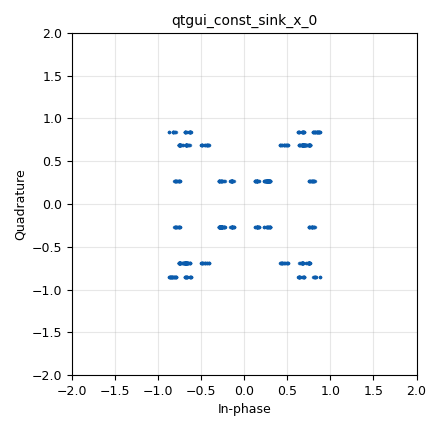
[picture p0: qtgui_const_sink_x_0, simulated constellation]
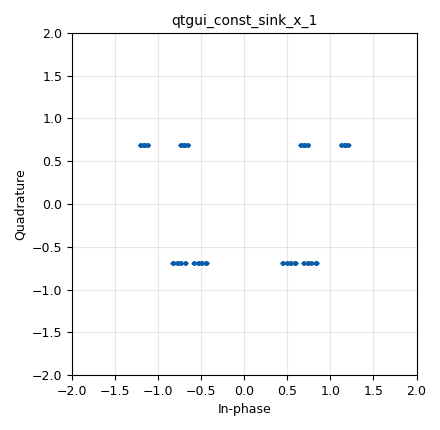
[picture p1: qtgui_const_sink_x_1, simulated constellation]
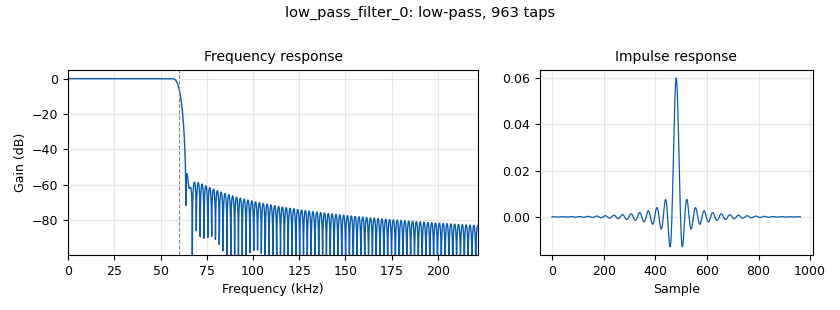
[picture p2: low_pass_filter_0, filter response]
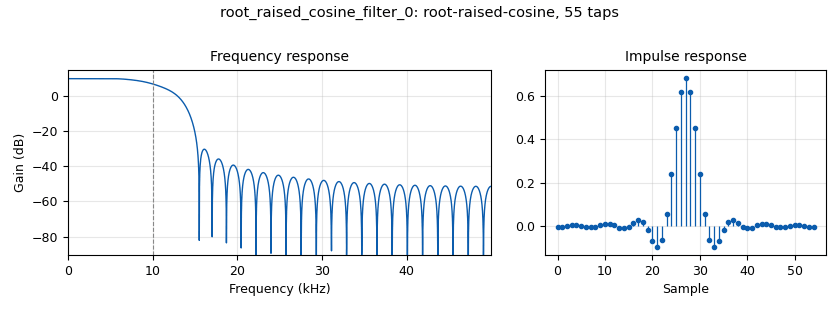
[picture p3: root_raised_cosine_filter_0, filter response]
options:
  parameters:
    generate_options: qt_gui
    id: part1
    output_language: python
    title: Not titled yet
  states: {}

blocks:
- name: samp_rate
  id: variable
  parameters:
    value: symb_rate*sps
  states: {}
- name: sps
  id: variable
  parameters:
    value: '5'
  states: {}
- name: symb_rate
  id: variable
  parameters:
    value: 20e3
  states: {}
- name: analog_random_source_x_0
  id: analog_random_source_x
  parameters:
    max: '2'
    min: '0'
    num_samps: '1000'
    repeat: 'True'
    type: byte
  states: {}
- name: analog_random_source_x_0_0
  id: analog_random_source_x
  parameters:
    max: '2'
    min: '0'
    num_samps: '1000'
    repeat: 'True'
    type: byte
  states: {}
- name: analog_sig_source_x_0
  id: analog_sig_source_x
  parameters:
    amp: '1'
    freq: 100e3
    offset: '0'
    phase: '0'
    samp_rate: 2e6
    type: float
    waveform: analog.GR_COS_WAVE
  states: {}
- name: analog_sig_source_x_0_0
  id: analog_sig_source_x
  parameters:
    amp: '1'
    freq: 100e3
    offset: '0'
    phase: '0'
    samp_rate: 2e6
    type: float
    waveform: analog.GR_COS_WAVE
  states: {}
- name: analog_sig_source_x_0_0_0
  id: analog_sig_source_x
  parameters:
    amp: '1'
    freq: 100e3
    offset: '0'
    phase: '90'
    samp_rate: 2e6
    type: float
    waveform: analog.GR_COS_WAVE
  states: {}
- name: analog_sig_source_x_0_1
  id: analog_sig_source_x
  parameters:
    amp: '1'
    freq: 100e3
    offset: '0'
    phase: '90'
    samp_rate: 2e6
    type: float
    waveform: analog.GR_COS_WAVE
  states: {}
- name: blocks_add_xx_0
  id: blocks_add_xx
  parameters:
    type: float
  states: {}
- name: blocks_add_xx_0_0
  id: blocks_add_xx
  parameters:
    type: float
  states: {}
- name: blocks_add_xx_1_0
  id: blocks_add_xx
  parameters:
    num_inputs: '5'
    type: float
  states: {}
- name: blocks_add_xx_1_0_0
  id: blocks_add_xx
  parameters:
    num_inputs: '5'
    type: float
  states: {}
- name: blocks_complex_to_float_1
  id: blocks_complex_to_float
  parameters: {}
  states: {}
- name: blocks_delay_0
  id: blocks_delay
  parameters:
    delay: 20*sps
    type: float
  states: {}
- name: blocks_delay_0_0_0_0_0
  id: blocks_delay
  parameters:
    delay: 4*(20*sps)
    type: float
  states: {}
- name: blocks_delay_0_0_0_0_0_0
  id: blocks_delay
  parameters:
    delay: 4*(20*sps)
    type: float
  states: {}
- name: blocks_delay_0_0_0_1
  id: blocks_delay
  parameters:
    delay: 3*(20*sps)
    type: float
  states: {}
- name: blocks_delay_0_0_0_1_0
  id: blocks_delay
  parameters:
    delay: 3*(20*sps)
    type: float
  states: {}
- name: blocks_delay_0_0_1_0
  id: blocks_delay
  parameters:
    delay: 2*(20*sps)
    type: float
  states: {}
- name: blocks_delay_0_0_1_0_0
  id: blocks_delay
  parameters:
    delay: 2*(20*sps)
    type: float
  states: {}
- name: blocks_delay_0_0_2
  id: blocks_delay
  parameters:
    delay: 20*sps
    type: float
  states: {}
- name: blocks_delay_0_0_2_0
  id: blocks_delay
  parameters:
    delay: (20*sps)
    type: float
  states: {}
- name: blocks_delay_0_1
  id: blocks_delay
  parameters:
    delay: 20*sps
    type: float
  states: {}
- name: blocks_float_to_complex_0
  id: blocks_float_to_complex
  parameters: {}
  states: {}
- name: blocks_multiply_const_vxx_0
  id: blocks_multiply_const_vxx
  parameters:
    const: '0.5'
    type: float
  states: {}
- name: blocks_multiply_const_vxx_0_0_0_0
  id: blocks_multiply_const_vxx
  parameters:
    const: '0.25'
    type: float
  states: {}
- name: blocks_multiply_const_vxx_0_0_0_0_0
  id: blocks_multiply_const_vxx
  parameters:
    const: '0.25'
    type: float
  states: {}
- name: blocks_multiply_const_vxx_0_0_1_0
  id: blocks_multiply_const_vxx
  parameters:
    const: '-0.125'
    type: float
  states: {}
- name: blocks_multiply_const_vxx_0_0_1_0_0
  id: blocks_multiply_const_vxx
  parameters:
    const: '-0.125'
    type: float
  states: {}
- name: blocks_multiply_const_vxx_0_0_2_0
  id: blocks_multiply_const_vxx
  parameters:
    const: '0.0625'
    type: float
  states: {}
- name: blocks_multiply_const_vxx_0_0_2_0_0
  id: blocks_multiply_const_vxx
  parameters:
    const: '0.0625'
    type: float
  states: {}
- name: blocks_multiply_const_vxx_0_0_3
  id: blocks_multiply_const_vxx
  parameters:
    const: '-0.5'
    type: float
  states: {}
- name: blocks_multiply_const_vxx_0_0_3_0
  id: blocks_multiply_const_vxx
  parameters:
    const: '-0.5'
    type: float
  states: {}
- name: blocks_multiply_const_vxx_0_1
  id: blocks_multiply_const_vxx
  parameters:
    const: '0.5'
    type: float
  states: {}
- name: blocks_multiply_xx_0
  id: blocks_multiply_xx
  parameters:
    type: float
  states: {}
- name: blocks_multiply_xx_0_0
  id: blocks_multiply_xx
  parameters:
    type: float
  states: {}
- name: blocks_multiply_xx_1
  id: blocks_multiply_xx
  parameters:
    type: float
  states: {}
- name: blocks_multiply_xx_1_0
  id: blocks_multiply_xx
  parameters:
    type: float
  states: {}
- name: blocks_null_sink_0
  id: blocks_null_sink
  parameters:
    type: complex
  states: {}
- name: digital_chunks_to_symbols_xx_0
  id: digital_chunks_to_symbols_xx
  parameters:
    dimension: '2'
    in_type: byte
    out_type: complex
    symbol_table: '[-1 + 1j,1 - 1j, 1 +1j, -1 -1j]'
  states: {}
- name: digital_chunks_to_symbols_xx_0_0
  id: digital_chunks_to_symbols_xx
  parameters:
    dimension: '1'
    in_type: byte
    out_type: complex
    symbol_table: '[-1,1]'
  states: {}
- name: fir_filter_xxx_0
  id: fir_filter_xxx
  parameters:
    decim: sps
    taps: '1'
    type: ccf
  states: {}
- name: interp_fir_filter_xxx_0
  id: interp_fir_filter_xxx
  parameters:
    interp: sps
    taps: '1'
    type: ccc
  states: {}
- name: low_pass_filter_0
  id: low_pass_filter
  parameters:
    cutoff_freq: 60e3
    gain: '1'
    interp: '1'
    samp_rate: 2e6
    type: interp_fir_filter_fff
    width: '5000'
    win: window.WIN_HAMMING
  states: {}
- name: low_pass_filter_0_0
  id: low_pass_filter
  parameters:
    cutoff_freq: 60e3
    gain: '1'
    interp: '1'
    samp_rate: 2e6
    type: interp_fir_filter_fff
    width: '5000'
    win: window.WIN_HAMMING
  states: {}
- name: qtgui_const_sink_x_0
  id: qtgui_const_sink_x
  parameters:
    size: '1024'
    type: complex
  states: {}
- name: qtgui_const_sink_x_1
  id: qtgui_const_sink_x
  parameters:
    size: '1024'
    type: complex
  states: {}
- name: rational_resampler_xxx_0
  id: rational_resampler_xxx
  parameters:
    decim: '1'
    interp: '20'
    type: ccc
  states: {}
- name: rational_resampler_xxx_1
  id: rational_resampler_xxx
  parameters:
    decim: '20'
    interp: '1'
    type: ccf
  states: {}
- name: root_raised_cosine_filter_0
  id: root_raised_cosine_filter
  parameters:
    alpha: '0.5'
    decim: '1'
    gain: '3'
    ntaps: 11*sps
    samp_rate: samp_rate
    sym_rate: symb_rate
    type: fir_filter_ccf
  states: {}
- name: root_raised_cosine_filter_0_0
  id: root_raised_cosine_filter
  parameters:
    alpha: '0.5'
    decim: '1'
    gain: '3'
    ntaps: 11*sps
    samp_rate: samp_rate
    sym_rate: symb_rate
    type: fir_filter_ccf
  states: {}

connections:
- [analog_random_source_x_0, '0', digital_chunks_to_symbols_xx_0, '0']
- [analog_random_source_x_0_0, '0', digital_chunks_to_symbols_xx_0_0, '0']
- [analog_sig_source_x_0, '0', blocks_multiply_xx_0, '1']
- [analog_sig_source_x_0_0, '0', blocks_multiply_xx_1, '1']
- [analog_sig_source_x_0_0_0, '0', blocks_multiply_xx_1_0, '0']
- [analog_sig_source_x_0_1, '0', blocks_multiply_xx_0_0, '1']
- [blocks_add_xx_0, '0', blocks_multiply_xx_1, '0']
- [blocks_add_xx_0_0, '0', blocks_multiply_xx_1_0, '1']
- [blocks_add_xx_1_0, '0', blocks_float_to_complex_0, '1']
- [blocks_add_xx_1_0_0, '0', blocks_float_to_complex_0, '0']
- [blocks_complex_to_float_1, '0', blocks_multiply_xx_0, '0']
- [blocks_complex_to_float_1, '1', blocks_multiply_xx_0_0, '0']
- [blocks_delay_0, '0', blocks_multiply_const_vxx_0, '0']
- [blocks_delay_0_0_0_0_0, '0', blocks_multiply_const_vxx_0_0_2_0, '0']
- [blocks_delay_0_0_0_0_0_0, '0', blocks_multiply_const_vxx_0_0_2_0_0, '0']
- [blocks_delay_0_0_0_1, '0', blocks_multiply_const_vxx_0_0_1_0, '0']
- [blocks_delay_0_0_0_1_0, '0', blocks_multiply_const_vxx_0_0_1_0_0, '0']
- [blocks_delay_0_0_1_0, '0', blocks_multiply_const_vxx_0_0_0_0, '0']
- [blocks_delay_0_0_1_0_0, '0', blocks_multiply_const_vxx_0_0_0_0_0, '0']
- [blocks_delay_0_0_2, '0', blocks_multiply_const_vxx_0_0_3, '0']
- [blocks_delay_0_0_2_0, '0', blocks_multiply_const_vxx_0_0_3_0, '0']
- [blocks_delay_0_1, '0', blocks_multiply_const_vxx_0_1, '0']
- [blocks_float_to_complex_0, '0', rational_resampler_xxx_1, '0']
- [blocks_multiply_const_vxx_0, '0', blocks_add_xx_0, '1']
- [blocks_multiply_const_vxx_0_0_0_0, '0', blocks_add_xx_1_0, '2']
- [blocks_multiply_const_vxx_0_0_0_0_0, '0', blocks_add_xx_1_0_0, '2']
- [blocks_multiply_const_vxx_0_0_1_0, '0', blocks_add_xx_1_0, '3']
- [blocks_multiply_const_vxx_0_0_1_0_0, '0', blocks_add_xx_1_0_0, '3']
- [blocks_multiply_const_vxx_0_0_2_0, '0', blocks_add_xx_1_0, '4']
- [blocks_multiply_const_vxx_0_0_2_0_0, '0', blocks_add_xx_1_0_0, '4']
- [blocks_multiply_const_vxx_0_0_3, '0', blocks_add_xx_1_0, '1']
- [blocks_multiply_const_vxx_0_0_3_0, '0', blocks_add_xx_1_0_0, '1']
- [blocks_multiply_const_vxx_0_1, '0', blocks_add_xx_0_0, '1']
- [blocks_multiply_xx_0, '0', blocks_add_xx_0, '0']
- [blocks_multiply_xx_0, '0', blocks_delay_0, '0']
- [blocks_multiply_xx_0_0, '0', blocks_add_xx_0_0, '0']
- [blocks_multiply_xx_0_0, '0', blocks_delay_0_1, '0']
- [blocks_multiply_xx_1, '0', low_pass_filter_0, '0']
- [blocks_multiply_xx_1_0, '0', low_pass_filter_0_0, '0']
- [digital_chunks_to_symbols_xx_0, '0', interp_fir_filter_xxx_0, '0']
- [digital_chunks_to_symbols_xx_0_0, '0', blocks_null_sink_0, '0']
- [fir_filter_xxx_0, '0', qtgui_const_sink_x_1, '0']
- [interp_fir_filter_xxx_0, '0', root_raised_cosine_filter_0, '0']
- [low_pass_filter_0, '0', blocks_add_xx_1_0_0, '0']
- [low_pass_filter_0, '0', blocks_delay_0_0_0_0_0_0, '0']
- [low_pass_filter_0, '0', blocks_delay_0_0_0_1_0, '0']
- [low_pass_filter_0, '0', blocks_delay_0_0_1_0_0, '0']
- [low_pass_filter_0, '0', blocks_delay_0_0_2_0, '0']
- [low_pass_filter_0_0, '0', blocks_add_xx_1_0, '0']
- [low_pass_filter_0_0, '0', blocks_delay_0_0_0_0_0, '0']
- [low_pass_filter_0_0, '0', blocks_delay_0_0_0_1, '0']
- [low_pass_filter_0_0, '0', blocks_delay_0_0_1_0, '0']
- [low_pass_filter_0_0, '0', blocks_delay_0_0_2, '0']
- [rational_resampler_xxx_0, '0', blocks_complex_to_float_1, '0']
- [rational_resampler_xxx_1, '0', root_raised_cosine_filter_0_0, '0']
- [root_raised_cosine_filter_0, '0', qtgui_const_sink_x_0, '0']
- [root_raised_cosine_filter_0, '0', rational_resampler_xxx_0, '0']
- [root_raised_cosine_filter_0_0, '0', fir_filter_xxx_0, '0']

metadata:
  file_format: 1
